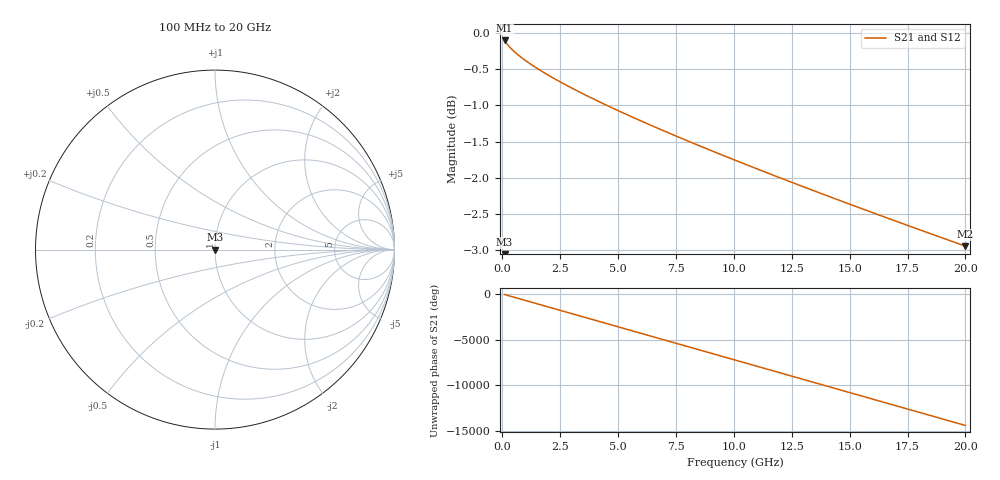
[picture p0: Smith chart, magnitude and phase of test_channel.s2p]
! Synthetic PCIe Gen 5 test channel - generate_golden_channels.py
! Causal lossy line: skin 0.3 dB/sqrt(GHz), dielectric 0.08 dB/GHz,
! delay 2.0 ns, matched (S11 = 0), strictly passive, S21(DC) = 1
! IL at 16 GHz (Gen5 Nyquist): 2.48 dB
# HZ S RI R 50
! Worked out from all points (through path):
!   500 points, 100 MHz to 20 GHz, reference 50 ohm
!   highest |S21| = -0.10 dB at 100 MHz (marker M1); lowest = -2.9 dB at 20 GHz (marker M2)
!   lowest |S11| = - dB at 100 MHz (marker M3), VSWR 1.00, Z = 50 + j0 ohm
!   |S11| at or under -10 dB: start of sweep to end of sweep
!   |S22| runs from - to - dB; largest |S21 - S12| = 0
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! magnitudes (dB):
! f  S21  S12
! 100 MHz  -0.1  -0.1
! 179.8 MHz  -0.1  -0.1
! 339.3 MHz  -0.2  -0.2
! 578.6 MHz  -0.3  -0.3
! 897.6 MHz  -0.4  -0.4
! 1.257 GHz  -0.4  -0.4
! 1.695 GHz  -0.5  -0.5
! 2.214 GHz  -0.6  -0.6
! 2.812 GHz  -0.7  -0.7
! 3.45 GHz  -0.8  -0.8
! 4.168 GHz  -0.9  -0.9
! 4.965 GHz  -1.1  -1.1
! 5.843 GHz  -1.2  -1.2
! 6.76 GHz  -1.3  -1.3
! 8.315 GHz  -1.5  -1.5
! 10.07 GHz  -1.8  -1.8
! 11.67 GHz  -2.0  -2.0
! 13.38 GHz  -2.2  -2.2
! 16.69 GHz  -2.6  -2.6
! 19.2 GHz  -2.9  -2.9
! 19.92 GHz  -2.9  -2.9
! 20 GHz  -2.9  -2.9
